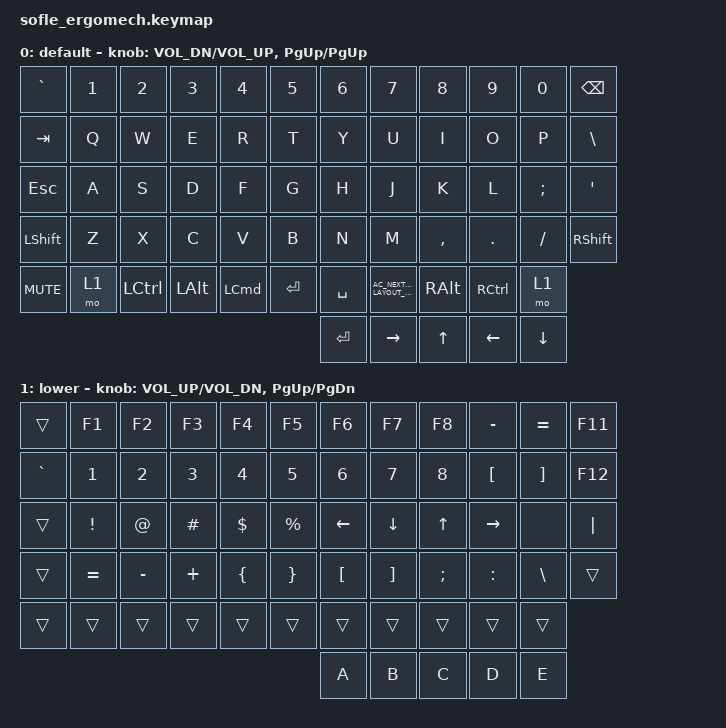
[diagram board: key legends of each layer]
/*
 * Copyright (c) 2020 The ZMK Contributors
 *
 * SPDX-License-Identifier: MIT
 */

#include <behaviors.dtsi>
#include <dt-bindings/zmk/keys.h>

#define BASE 0
#define LOWER 1
#define RAISE 2
#define ADJUST 3

/ {
    // Activate ADJUST layer by pressing raise and lower

    conditional_layers {
        compatible = "zmk,conditional-layers";

        adjust_layer {
            if-layers = <1 2>;
            then-layer = <3>;
        };
    };

    keymap {
        compatible = "zmk,keymap";

        default_layer {
            label = "default";

            // ------------------------------------------------------------------------------------------------------------
            // |   `   |  1  |  2  |  3   |  4   |  5   |                   |  6   |  7    |  8    |  9   |   0   |       |
            // |  ESC  |  Q  |  W  |  E   |  R   |  T   |                   |  Y   |  U    |  I    |  O   |   P   | BKSPC |
            // |  TAB  |  A  |  S  |  D   |  F   |  G   |                   |  H   |  J    |  K    |  L   |   ;   |   '   |
            // | SHIFT |  Z  |  X  |  C   |  V   |  B   |  MUTE  |  |       |  N   |  M    |  ,    |  .   |   /   | SHIFT |
            //               | GUI | ALT  | CTRL | LOWER|  ENTER |  | SPACE | RAISE| CTRL  | ALT   | GUI  |

            bindings = <
&kp GRAVE   &kp N1  &kp N2            &kp N3        &kp N4            &kp N5     &kp N6     &kp N7                                &kp N8         &kp N9             &kp N0    &kp BACKSPACE
&kp TAB     &kp Q   &kp W             &kp E         &kp R             &kp T      &kp Y      &kp U                                 &kp I          &kp O              &kp P     &kp BACKSLASH
&kp ESC     &kp A   &kp S             &kp D         &kp F             &kp G      &kp H      &kp J                                 &kp K          &kp L              &kp SEMI  &kp SQT
&kp LSHFT   &kp Z   &kp X             &kp C         &kp V             &kp B      &kp N      &kp M                                 &kp COMMA      &kp DOT            &kp FSLH  &kp RSHFT
&kp K_MUTE  &mo 1   &kp LEFT_CONTROL  &kp LEFT_ALT  &kp LEFT_COMMAND  &kp ENTER  &kp SPACE  &kp C_AC_NEXT_KEYBOARD_LAYOUT_SELECT  &kp RIGHT_ALT  &kp RIGHT_CONTROL  &mo 1
                                                                                 &kp ENTER  &kp RIGHT                             &kp UP_ARROW   &kp LEFT           &kp DOWN
            >;

            sensor-bindings =
                <&inc_dec_kp C_VOL_DN C_VOL_UP>,
                <&inc_dec_kp PG_UP PG_UP>;
        };

        lower_layer {
            label = "lower";

            // TODO: Some binds are waiting for shifted keycode support.
            // ------------------------------------------------------------------------------------------------------------
            // |       |  F1 |  F2 |  F3  |  F4  |  F5  |                   |  F6  |  F7   |  F8   |  F9  |  F10  |  F11  |
            // |   `   |  1  |  2  |  3   |  4   |  5   |                   |  6   |  7    |  8    |  9   |   0   |  F12  |
            // |       |  !  |  @  |  #   |  $   |  %   |                   |  ^   |  &    |  *    |  (   |   )   |   |   |
            // |       |  =  |  -  |  +   |  {   |  }   |        |  |       |  [   |  ]    |  ;    |  :   |   \   |       |
            //               |     |      |      |      |        |  |       |      |       |       |      |

            bindings = <
&trans     &kp F1     &kp F2     &kp F3    &kp F4    &kp F5     &kp F6    &kp F7    &kp F8        &kp MINUS         &kp EQUAL          &kp F11
&kp GRAVE  &kp N1     &kp N2     &kp N3    &kp N4    &kp N5     &kp N6    &kp N7    &kp N8        &kp LEFT_BRACKET  &kp RIGHT_BRACKET  &kp F12
&trans     &kp EXCL   &kp AT     &kp HASH  &kp DLLR  &kp PRCNT  &kp LEFT  &kp DOWN  &kp UP_ARROW  &kp RIGHT         &none              &kp PIPE
&trans     &kp EQUAL  &kp MINUS  &kp PLUS  &kp LBRC  &kp RBRC   &kp LBKT  &kp RBKT  &kp SEMI      &kp COLON         &kp BSLH           &trans
&trans     &trans     &trans     &trans    &trans    &trans     &trans    &trans    &trans        &trans            &trans
                                                                &kp A     &kp B     &kp C         &kp D             &kp E
            >;

            sensor-bindings = <&inc_dec_kp C_VOL_UP C_VOL_DN &inc_dec_kp PG_UP PG_DN>;
        };
    };
};
